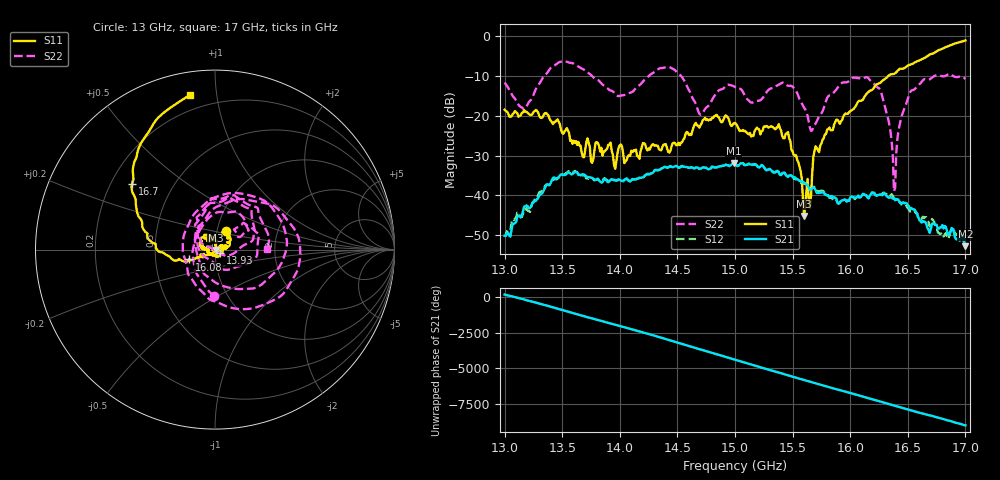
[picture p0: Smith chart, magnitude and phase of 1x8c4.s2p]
!Keysight Technologies,P9374A,MY57211807,A.19.30.04
!Date: Friday, May 08, 2026 15:06:30
!Correction: S11(C  2-Port  )
!S21(C  2-Port  )
!S12(C  2-Port  )
!S22(C  2-Port  )
!S2P File: Measurements: S11, S21, S12, S22:
# Hz S  dB  R 50
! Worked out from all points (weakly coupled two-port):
!   401 points, 13 GHz to 17 GHz, reference 50 ohm
!   highest |S21| = -31.86 dB at 14.99 GHz (marker M1); lowest = -52.7 dB at 17 GHz (marker M2)
!   lowest |S11| = -45.2 dB at 15.6 GHz (marker M3), VSWR 1.01, Z = 50.5 - j0.274 ohm
!   |S11| at or under -10 dB: start of sweep to 16.33 GHz
!   |S22| runs from -39.0 to -6.4 dB; largest |S21 - S12| = 0.0013
!   S11 on the Smith chart (normalised r, x): 13 GHz: 1.11, +0.23; 13.93 GHz: 1.06, -0.04; 16.08 GHz: 0.74, -0.08; 16.7 GHz: 0.29, +0.32; 17 GHz: 0.12, +0.85
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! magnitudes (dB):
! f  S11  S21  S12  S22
! 13 GHz  -18.5  -50.1  -50.4  -11.7
! 13.17 GHz  -18.6  -42.8  -43.4  -18.4
! 13.42 GHz  -22.1  -35.6  -36.1  -7.6
! 13.67 GHz  -29.4  -34.8  -35.0  -8.2
! 13.93 GHz  -28.8  -35.9  -35.9  -13.8
! 14.34 GHz  -28.5  -33.6  -33.6  -8.2
! 14.53 GHz  -26.8  -32.8  -32.8  -10.0
! 14.7 GHz  -22.4  -33.3  -33.3  -19.8
! 14.99 GHz  -21.9  -31.9  -31.8  -12.7
! 15 GHz  -21.8  -32.1  -32.1  -12.8
! 15.46 GHz  -24.1  -35.4  -35.3  -12.5
! 15.6 GHz  -45.2  -36.8  -37.1  -18.0
! 15.67 GHz  -34.6  -38.2  -37.9  -23.7
! 15.8 GHz  -23.5  -40.0  -40.0  -15.6
! 16.08 GHz  -16.3  -40.5  -40.6  -10.6
! 16.25 GHz  -11.9  -39.9  -39.7  -13.1
! 16.34 GHz  -9.9  -40.6  -40.4  -22.2
! 16.39 GHz  -9.4  -41.2  -41.0  -38.1
! 16.43 GHz  -8.3  -41.7  -41.7  -22.2
! 16.51 GHz  -7.3  -42.8  -43.6  -14.9
! 16.7 GHz  -4.6  -48.4  -47.4  -10.7
! 17 GHz  -1.2  -52.7  -52.1  -10.8
